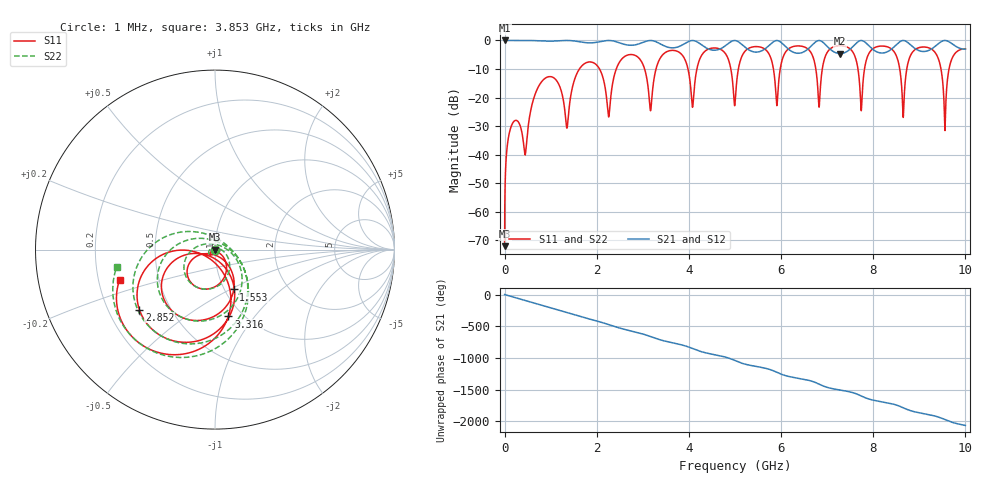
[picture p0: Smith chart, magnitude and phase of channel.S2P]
#  hz  S  RI  R  50
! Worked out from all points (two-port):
!   10000 points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, 1 MHz to 10 GHz, reference 50 ohm
!   highest |S21| = 0.00 dB at 1 MHz (marker M1); lowest = -4.6 dB at 7.282 GHz (marker M2)
!   |S21| within 3 dB of the highest: start of sweep to 4.425 GHz; 9.263 GHz to 9.942 GHz (679.4 MHz wide, 7.07 % of centre)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
!   lowest |S11| = -72.1 dB at 1 MHz (marker M3), VSWR 1.00, Z = 50 - j0.0248 ohm
!   |S11| at or under -10 dB: start of sweep to 1.624 GHz; 2.06 GHz to 2.424 GHz (363.3 MHz wide, 16.2 % of centre); 3.039 GHz to 3.287 GHz (248 MHz wide, 7.84 % of centre)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
!   |S22| runs from -72.1 to -1.8 dB; largest |S21 - S12| = 0
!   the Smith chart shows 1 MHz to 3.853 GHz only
!   S11 on the Smith chart (normalised r, x): 1 MHz: 1.00, -0.00; 1.553 GHz: 1.10, -0.52; 2.852 GHz: 0.33, -0.31; 3.316 GHz: 0.86, -0.75; 3.853 GHz: 0.29, -0.14
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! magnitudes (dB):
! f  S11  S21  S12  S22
! 1 MHz  -72.1  0.0  0.0  -72.1
! 174 MHz  -29.0  0.0  0.0  -29.0
! 1.553 GHz  -12.2  -0.3  -0.3  -12.2
! 1.668 GHz  -9.1  -0.6  -0.6  -9.1
! 2.259 GHz  -26.8  0.0  0.0  -26.8
! 2.852 GHz  -5.4  -1.5  -1.5  -5.4
! 3.164 GHz  -24.5  0.0  0.0  -24.5
! 3.316 GHz  -8.4  -0.7  -0.7  -8.4
! 3.334 GHz  -7.6  -0.8  -0.8  -7.6
! 3.853 GHz  -5.1  -1.6  -1.6  -5.1
! 5.001 GHz  -22.1  0.0  0.0  -22.1
! 5.309 GHz  -2.7  -3.4  -3.4  -2.7
! 5.908 GHz  -22.9  0.0  0.0  -22.9
! 6.667 GHz  -4.8  -1.8  -1.8  -4.8
! 6.826 GHz  -23.4  0.0  0.0  -23.4
! 7.282 GHz  -1.8  -4.6  -4.6  -1.8
! 7.739 GHz  -24.6  0.0  0.0  -24.6
! 8.334 GHz  -2.4  -3.7  -3.7  -2.4
! 8.651 GHz  -27.0  0.0  0.0  -27.0
! 9.304 GHz  -3.5  -2.6  -2.6  -3.5
! 9.556 GHz  -31.6  0.0  0.0  -31.6
! 10 GHz  -3.0  -3.0  -3.0  -3.0
